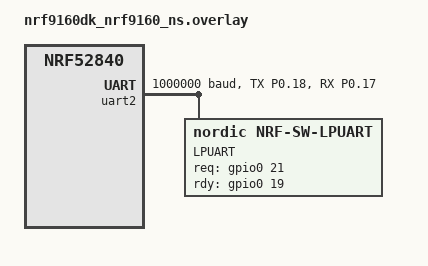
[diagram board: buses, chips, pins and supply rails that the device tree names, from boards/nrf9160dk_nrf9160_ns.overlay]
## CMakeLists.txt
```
#
# Copyright (c) 2018 Nordic Semiconductor
#
# SPDX-License-Identifier: LicenseRef-Nordic-5-Clause
#

cmake_minimum_required(VERSION 3.13.1)

find_package(Zephyr REQUIRED HINTS $ENV{ZEPHYR_BASE})
project(lte-ble-gateway)

# NORDIC SDK APP START
target_sources(app PRIVATE src/main.c)
# NORDIC SDK APP END
zephyr_include_directories(src)

include_directories(src/orientation_detector)
target_sources(app PRIVATE src/aggregator.c)
target_sources(app PRIVATE src/alarm.c)
target_sources(app PRIVATE src/ble.c)
```

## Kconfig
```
#
# Copyright (c) 2018 Nordic Semiconductor ASA
#
# SPDX-License-Identifier: LicenseRef-Nordic-5-Clause
#

menu "LTE BLE gateway sample"

config GNSS_SEARCH_INTERVAL
	int "Interval for starting GNSS search"
	default 240

config GNSS_SEARCH_TIMEOUT
	int "Timeout for GNSS search"
	default 120
	help
	  The GNSS will stop acquiring GNSS fix when it times out.
	  It will restart the search at the start of the next search interval.

endmenu

module=LTE_BLE_GW
module-dep=LOG
module-str= LTE BLE gateway sample
source "${ZEPHYR_BASE}/subsys/logging/Kconfig.template.log_config"

menu "Zephyr Kernel"
source "Kconfig.zephyr"
endmenu
```

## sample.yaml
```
sample:
  name: LTE-BLE gateway sample
tests:
  sample.nrf9160.lte_ble_gateway:
    build_only: true
    integration_platforms:
      - nrf9160dk_nrf9160_ns
    platform_allow: nrf9160dk_nrf9160_ns
    tags: ci_build
```

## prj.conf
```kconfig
#
# Copyright (c) 2019 Nordic Semiconductor ASA
#
# SPDX-License-Identifier: LicenseRef-Nordic-5-Clause
#
# General config
CONFIG_NEWLIB_LIBC=y
CONFIG_NEWLIB_LIBC_FLOAT_PRINTF=y
CONFIG_ASSERT=y
CONFIG_REBOOT=y

# Network
CONFIG_NETWORKING=y
CONFIG_NET_NATIVE=n
CONFIG_NET_SOCKETS=y
CONFIG_NET_SOCKETS_OFFLOAD=y

# LTE link control
CONFIG_LTE_LINK_CONTROL=y
CONFIG_LTE_AUTO_INIT_AND_CONNECT=n
CONFIG_LTE_NETWORK_MODE_LTE_M_GPS=y

# AT host
CONFIG_AT_HOST_LIBRARY=y

# Modem library
CONFIG_NRF_MODEM_LIB=y
# Modem library fault handling
CONFIG_NRF_MODEM_LIB_ON_FAULT_APPLICATION_SPECIFIC=y

# Disable Modem traces, since we need UART1 for HCI
CONFIG_NRF_MODEM_LIB_TRACE=n

# nRF Cloud
CONFIG_NRF_CLOUD_MQTT=y
CONFIG_NRF_CLOUD_AGPS=y

# Modem info
CONFIG_MODEM_INFO=y
CONFIG_MODEM_INFO_ADD_NETWORK=y

# Logging
CONFIG_LOG=y
CONFIG_LTE_BLE_GW_LOG_LEVEL_INF=y

# For demo purposes, we acquire fix often
CONFIG_GNSS_SEARCH_INTERVAL=30
CONFIG_GNSS_SEARCH_TIMEOUT=15

# Library for buttons and LEDs
CONFIG_DK_LIBRARY=y

# Console for user association
CONFIG_CONSOLE_SUBSYS=y
CONFIG_CONSOLE_GETCHAR=y

# Enable Bluetooth stack and libraries
CONFIG_BT=y
CONFIG_BT_H4=y
CONFIG_BT_WAIT_NOP=y
CONFIG_BT_CENTRAL=y
CONFIG_BT_GATT_CLIENT=y
CONFIG_BT_GATT_DM=y
CONFIG_BT_SCAN=y
CONFIG_BT_SCAN_FILTER_ENABLE=y
CONFIG_BT_SCAN_UUID_CNT=1

CONFIG_UART_INTERRUPT_DRIVEN=y

# Heap and stacks
CONFIG_HEAP_MEM_POOL_SIZE=16384
CONFIG_MAIN_STACK_SIZE=8192
CONFIG_SYSTEM_WORKQUEUE_STACK_SIZE=4096
```

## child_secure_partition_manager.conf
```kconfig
#
# Copyright (c) 2019 Nordic Semiconductor ASA
#
# SPDX-License-Identifier: LicenseRef-BSD-5-Clause-Nordic
#
# Set UARTE2 as non-secure, used for HCI
CONFIG_SPM_NRF_UARTE2_NS=y
```

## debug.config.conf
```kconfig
#
# Copyright (c) 2021 Nordic Semiconductor ASA
#
# SPDX-License-Identifier: LicenseRef-Nordic-5-Clause
#

CONFIG_LOG=y

# When enabled, non-secure logs are printed to UARTE0 when secure fault occurs
CONFIG_SPM_NS_DEBUG_LOGS_DUMP=y
CONFIG_SPM_SERVICE_NS_HANDLER_FROM_SPM_FAULT=y
```

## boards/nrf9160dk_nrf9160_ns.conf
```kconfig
CONFIG_NRF_SW_LPUART=y
CONFIG_UART_INTERRUPT_DRIVEN=y

CONFIG_UART_2_ASYNC=y
CONFIG_UART_2_INTERRUPT_DRIVEN=n
CONFIG_UART_2_NRF_HW_ASYNC=y
CONFIG_UART_2_NRF_HW_ASYNC_TIMER=2
```

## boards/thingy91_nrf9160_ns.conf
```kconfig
CONFIG_NRF_SW_LPUART=y
CONFIG_UART_INTERRUPT_DRIVEN=y

CONFIG_UART_1_ASYNC=y
CONFIG_UART_1_INTERRUPT_DRIVEN=n
CONFIG_UART_1_NRF_HW_ASYNC=y
CONFIG_UART_1_NRF_HW_ASYNC_TIMER=2

CONFIG_USE_SEGGER_RTT=y
CONFIG_RTT_CONSOLE=y
CONFIG_UART_CONSOLE=n
CONFIG_LOG_BACKEND_RTT=y

CONFIG_AT_HOST_LIBRARY=n

CONFIG_LTE_LOCK_BANDS=y
# Enable band 2, 3, 4, 8, 12, 13 ,20 and 28
CONFIG_LTE_LOCK_BAND_MASK="1000000010000001100010001110"
```

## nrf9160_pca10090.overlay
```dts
/ {
	chosen {
		zephyr,bt-uart=&uart2;
	};
};

&uart2 {
	current-speed = <1000000>;
	status = "ok";
	tx-pin = <18>;
	rx-pin = <17>;
	rts-pin = <19>;
	cts-pin = <21>;
};
```

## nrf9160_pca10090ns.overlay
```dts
/ {
	chosen {
		zephyr,bt-uart=&uart2;
	};
};

&uart2 {
	current-speed = <1000000>;
	status = "okay";
	tx-pin = <18>;
	rx-pin = <17>;
	rts-pin = <21>;
	cts-pin = <19>;
};
```

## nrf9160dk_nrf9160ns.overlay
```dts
/ {
	chosen {
		zephyr,bt-uart=&uart2;
	};
};

&uart2 {
	compatible = "nordic,nrf-uarte";
	current-speed = <1000000>;
	status = "okay";
	tx-pin = <18>;
	rx-pin = <17>;
	rts-pin = <21>;
	cts-pin = <19>;
};
```

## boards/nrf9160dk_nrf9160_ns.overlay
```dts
#include <nrf9160dk_nrf52840_reset_on_if5.dtsi>

/ {
	chosen {
		zephyr,bt-uart=&lpuart;
	};
};

&gpiote {
	interrupts = <49 NRF_DEFAULT_IRQ_PRIORITY>;
};

&uart2 {
	current-speed = <1000000>;
	status = "okay";
	/delete-property/ hw-flow-control;

	pinctrl-0 = <&uart2_default_alt>;
	pinctrl-1 = <&uart2_sleep_alt>;
	pinctrl-names = "default", "sleep";
	lpuart: nrf-sw-lpuart {
		compatible = "nordic,nrf-sw-lpuart";
		status = "okay";
		label = "LPUART";
		req-gpios = <&gpio0 21 0>; /* <&interface_to_nrf52840 3 0>; */
		rdy-gpios = <&gpio0 19 0>; /* <&interface_to_nrf52840 2 0>; */
	};
};

&pinctrl {
	uart2_default_alt: uart2_default_alt {
		group1 {
			psels = <NRF_PSEL(UART_TX, 0, 18)>,
				<NRF_PSEL(UART_RX, 0, 17)>;
		};
	};

	uart2_sleep_alt: uart2_sleep_alt {
		group1 {
			psels = <NRF_PSEL(UART_TX, 0, 18)>,
				<NRF_PSEL(UART_RX, 0, 17)>;
			low-power-enable;
		};
	};

};
```

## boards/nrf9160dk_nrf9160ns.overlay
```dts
#include <nrf9160dk_nrf52840_reset_on_if5.dtsi>

/ {
	chosen {
		zephyr,bt-uart=&lpuart;
	};
};

&uart2 {
	current-speed = <1000000>;
	status = "okay";
	tx-pin = <18>; /* <&interface_to_nrf52840 1 0>; */
	rx-pin = <17>; /* <&interface_to_nrf52840 0 0>; */
	/delete-property/ rts-pin;
	/delete-property/ cts-pin;
	/delete-property/ hw-flow-control;

	lpuart: nrf-sw-lpuart {
		compatible = "nordic,nrf-sw-lpuart";
		status = "okay";
		label = "LPUART";
		req-pin = <21>; /* <&interface_to_nrf52840 3 0>; */
		rdy-pin = <19>; /* <&interface_to_nrf52840 2 0>; */
	};
};
```

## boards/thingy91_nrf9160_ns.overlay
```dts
/ {
	chosen {
		zephyr,bt-uart=&lpuart;
	};
};

&uart1 {
	current-speed = <1000000>;
	status = "okay";
	/delete-property/ hw-flow-control;

	pinctrl-0 = <&uart1_default_alt>;
	pinctrl-1 = <&uart1_sleep_alt>;
	pinctrl-names = "default", "sleep";
	lpuart: nrf-sw-lpuart {
		compatible = "nordic,nrf-sw-lpuart";
		status = "okay";
		label = "LPUART";
		req-gpios = <&gpio0 24 0>;
		rdy-gpios = <&gpio0 25 0>;
	};
};

&gpiote {
	interrupts = <49 NRF_DEFAULT_IRQ_PRIORITY>;
};

&uart0 {
	status = "disabled";
};

&pinctrl {
	uart1_default_alt: uart1_default_alt {
		group1 {
			psels = <NRF_PSEL(UART_TX, 0, 22)>,
				<NRF_PSEL(UART_RX, 0, 23)>;
		};
	};

	uart1_sleep_alt: uart1_sleep_alt {
		group1 {
			psels = <NRF_PSEL(UART_TX, 0, 22)>,
				<NRF_PSEL(UART_RX, 0, 23)>;
			low-power-enable;
		};
	};
};
```

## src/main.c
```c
/*
 * Copyright (c) 2018 Nordic Semiconductor ASA
 *
 * SPDX-License-Identifier: LicenseRef-Nordic-5-Clause
 */

#include <zephyr/kernel.h>
#include <stdio.h>
#include <string.h>
#include <nrf_modem_at.h>
#include <nrf_modem_gnss.h>
#include <zephyr/drivers/sensor.h>
#include <zephyr/console/console.h>
#include <net/nrf_cloud.h>
#include <net/nrf_cloud_agps.h>
#include <dk_buttons_and_leds.h>
#include <modem/lte_lc.h>
#include <zephyr/sys/reboot.h>
#include <modem/nrf_modem_lib.h>
#include <zephyr/logging/log.h>

#include "aggregator.h"
#include "ble.h"
#include "alarm.h"

LOG_MODULE_REGISTER(lte_ble_gw, CONFIG_LTE_BLE_GW_LOG_LEVEL);

/* Interval in milliseconds between each time status LEDs are updated. */
#define LEDS_UPDATE_INTERVAL K_MSEC(500)

/* Interval in microseconds between each time LEDs are updated when indicating
 * that an error has occurred.
 */
#define LEDS_ERROR_UPDATE_INTERVAL 250000

#define BUTTON_1 BIT(0)
#define BUTTON_2 BIT(1)
#define SWITCH_1 BIT(2)
#define SWITCH_2 BIT(3)

#define LED_ON(x)			(x)
#define LED_BLINK(x)		((x) << 8)
#define LED_GET_ON(x)		((x) & 0xFF)
#define LED_GET_BLINK(x)	(((x) >> 8) & 0xFF)

/* Interval in milliseconds after the device will retry cloud connection
 * if the event NRF_CLOUD_EVT_TRANSPORT_CONNECTED is not received.
 */
#define RETRY_CONNECT_WAIT K_MSEC(90000)

enum {
	LEDS_INITIALIZING       = LED_ON(0),
	LEDS_LTE_CONNECTING     = LED_BLINK(DK_LED3_MSK),
	LEDS_LTE_CONNECTED      = LED_ON(DK_LED3_MSK),
	LEDS_CLOUD_CONNECTING   = LED_BLINK(DK_LED4_MSK),
	LEDS_CLOUD_PAIRING_WAIT = LED_BLINK(DK_LED3_MSK | DK_LED4_MSK),
	LEDS_CLOUD_CONNECTED    = LED_ON(DK_LED4_MSK),
	LEDS_ERROR              = LED_ON(DK_ALL_LEDS_MSK)
} display_state;

/* Variable to keep track of nRF cloud user association request. */
static atomic_val_t association_requested;

/* Sensor data */
static struct nrf_modem_gnss_nmea_data_frame gnss_nmea_data;
static uint32_t gnss_cloud_data_tag = 0x1;
static atomic_val_t send_data_enable;

/* Structures for work */
static struct k_work_delayable leds_update_work;
static struct k_work_delayable connect_work;
struct k_work_delayable aggregated_work;
static struct k_work agps_request_work;

static struct nrf_modem_gnss_pvt_data_frame last_pvt;
static bool nrf_modem_gnss_fix;

static bool cloud_connected;

enum error_type {
	ERROR_NRF_CLOUD,
	ERROR_MODEM_RECOVERABLE,
};

/* Forward declaration of functions. */
static void cloud_connect(struct k_work *work);
static void sensors_init(void);
static void work_init(void);

void sensor_data_send(struct nrf_cloud_sensor_data *data);

/**@brief nRF Cloud error handler. */
void error_handler(enum error_type err_type, int err)
{
	if (err_type == ERROR_NRF_CLOUD) {
		int err;

		/* Turn off and shutdown modem */
		k_sched_lock();
		err = lte_lc_power_off();
		__ASSERT(err == 0, "lte_lc_power_off failed: %d", err);
		nrf_modem_lib_shutdown();
	}

#if !defined(CONFIG_DEBUG)
	sys_reboot(SYS_REBOOT_COLD);
#else
	uint8_t led_pattern;

	switch (err_type) {
	case ERROR_NRF_CLOUD:
		/* Blinking all LEDs ON/OFF in pairs (1 and 4, 2 and 3)
		 * if there is an application error.
		 */
		led_pattern = DK_LED1_MSK | DK_LED4_MSK;
		LOG_ERR("Error of type ERROR_NRF_CLOUD: %d", err);
		break;
	case ERROR_MODEM_RECOVERABLE:
		/* Blinking all LEDs ON/OFF in pairs (1 and 3, 2 and 4)
		 * if there is a recoverable error.
		 */
		led_pattern = DK_LED1_MSK | DK_LED3_MSK;
		LOG_ERR("Error of type ERROR_MODEM_RECOVERABLE: %d", err);
		break;
	default:
		/* Blinking all LEDs ON/OFF in pairs (1 and 2, 3 and 4)
		 * undefined error.
		 */
		led_pattern = DK_LED1_MSK | DK_LED2_MSK;
		break;
	}

	while (true) {
		dk_set_leds(led_pattern & 0x0f);
		k_busy_wait(LEDS_ERROR_UPDATE_INTERVAL);
		dk_set_leds(~led_pattern & 0x0f);
		k_busy_wait(LEDS_ERROR_UPDATE_INTERVAL);
	}
#endif /* CONFIG_DEBUG */
}

void nrf_cloud_error_handler(int err)
{
	switch (err) {
	case NRF_CLOUD_ERR_STATUS_MQTT_CONN_FAIL:
	case NRF_CLOUD_ERR_STATUS_MQTT_CONN_BAD_PROT_VER:
	case NRF_CLOUD_ERR_STATUS_MQTT_CONN_ID_REJECTED:
	case NRF_CLOUD_ERR_STATUS_MQTT_CONN_SERVER_UNAVAIL:
	case NRF_CLOUD_ERR_STATUS_MQTT_CONN_BAD_USR_PWD:
	case NRF_CLOUD_ERR_STATUS_MQTT_CONN_NOT_AUTH:
	case NRF_CLOUD_ERR_STATUS_MQTT_SUB_FAIL:
		error_handler(ERROR_NRF_CLOUD, err);
	default:
		return;
	}
}

/**@brief Modem fault handler. */
void nrf_modem_fault_handler(struct nrf_modem_fault_info *fault_info)
{
	error_handler(ERROR_MODEM_RECOVERABLE, (int)fault_info->reason);
}

/**@brief Request assisted GPS data from nRF Cloud. */
static void agps_request(struct k_work *work)
{
	int retval;
	struct nrf_modem_gnss_agps_data_frame agps_data;

	if (!nrf_cloud_agps_request_in_progress()) {
		retval = nrf_modem_gnss_read(&agps_data, sizeof(agps_data),
					     NRF_MODEM_GNSS_DATA_AGPS_REQ);
		if (retval) {
			LOG_ERR("Failed to read AGPS data, err %d", retval);
			return;
		}

		retval = nrf_cloud_agps_request(&agps_data);
		if (retval) {
			LOG_ERR("Failed to request AGPS data, err %d", retval);
			return;
		}
	}
}

/**@brief Callback for GNSS events */
static void gnss_event_handler(int event)
{
	int retval;

	uint32_t button_state, has_changed;
	struct sensor_data in_data = {
		.type = GNSS_POSITION,
	};

	switch (event) {
	case NRF_MODEM_GNSS_EVT_PVT:
		retval = nrf_modem_gnss_read(&last_pvt, sizeof(last_pvt), NRF_MODEM_GNSS_DATA_PVT);
		if (retval) {
			LOG_ERR("nrf_modem_gnss_read failed, err %d", retval);
			return;
		}
		if (last_pvt.flags & NRF_MODEM_GNSS_PVT_FLAG_FIX_VALID) {
			nrf_modem_gnss_fix = true;
		} else {
			nrf_modem_gnss_fix = false;
		}
		return;
	case NRF_MODEM_GNSS_EVT_FIX:
		LOG_DBG("NRF_MODEM_GNSS_EVT_FIX");
		return;
	case NRF_MODEM_GNSS_EVT_NMEA:
		if (nrf_modem_gnss_fix == true) {
			retval = nrf_modem_gnss_read(&gnss_nmea_data,
						     sizeof(struct nrf_modem_gnss_nmea_data_frame),
						     NRF_MODEM_GNSS_DATA_NMEA);
			if (retval) {
				LOG_ERR("nrf_modem_gnss_read failed, err: %d", retval);
				return;
			}
			LOG_INF("GNSS NMEA data ready");
			break;
		}
		return;

	case NRF_MODEM_GNSS_EVT_AGPS_REQ:
		LOG_INF("Requesting AGPS Data");
		k_work_submit(&agps_request_work);
		return;
	case NRF_MODEM_GNSS_EVT_BLOCKED:
		LOG_DBG("NRF_MODEM_GNSS_EVT_BLOCKED");
		return;
	case NRF_MODEM_GNSS_EVT_UNBLOCKED:
		LOG_DBG("NRF_MODEM_GNSS_EVT_UNBLOCKED");
		return;
	case NRF_MODEM_GNSS_EVT_PERIODIC_WAKEUP:
		LOG_DBG("NRF_MODEM_GNSS_EVT_PERIODIC_WAKEUP");
		return;
	case NRF_MODEM_GNSS_EVT_SLEEP_AFTER_TIMEOUT:
		LOG_DBG("NRF_MODEM_GNSS_EVT_SLEEP_AFTER_TIMEOUT");
		return;
	case NRF_MODEM_GNSS_EVT_SLEEP_AFTER_FIX:
		LOG_DBG("NRF_MODEM_GNSS_EVT_SLEEP_AFTER_FIX");
		return;
	default:
		LOG_WRN("Unknown GNSS event %d", event);
		return;
	}

	dk_read_buttons(&button_state, &has_changed);

	if ((button_state & SWITCH_2) || !atomic_get(&send_data_enable)) {
		return;
	}

	gnss_cloud_data_tag++;

	memcpy(in_data.data, &gnss_cloud_data_tag, sizeof(gnss_cloud_data_tag));

	in_data.length = sizeof(gnss_cloud_data_tag) + sizeof(gnss_nmea_data.nmea_str);

	memcpy(&in_data.data[sizeof(gnss_cloud_data_tag)], gnss_nmea_data.nmea_str,
	       sizeof(gnss_nmea_data.nmea_str));

	retval = aggregator_put(in_data);
	if (retval) {
		LOG_ERR("Failed to store GNSS data.");
	}
}

/**@brief Update LEDs state. */
static void leds_update(struct k_work *work)
{
	static bool led_on;
	static uint8_t current_led_on_mask;
	uint8_t led_on_mask = current_led_on_mask;

	ARG_UNUSED(work);

	/* Reset LED3 and LED4. */
	led_on_mask &= ~(DK_LED3_MSK | DK_LED4_MSK);

	/* Set LED3 and LED4 to match current state. */
	led_on_mask |= LED_GET_ON(display_state);

	led_on = !led_on;
	if (led_on) {
		led_on_mask |= LED_GET_BLINK(display_state);
	} else {
		led_on_mask &= ~LED_GET_BLINK(display_state);
	}

	if (led_on_mask != current_led_on_mask) {
		dk_set_leds(led_on_mask);
		current_led_on_mask = led_on_mask;
	}

	k_work_schedule(&leds_update_work, LEDS_UPDATE_INTERVAL);
}

/**@brief Send sensor data to nRF Cloud. **/
void sensor_data_send(struct nrf_cloud_sensor_data *data)
{
	int err;

	if (!atomic_get(&send_data_enable)) {
		return;
	}

	if (data->type == NRF_CLOUD_SENSOR_FLIP) {
		err = nrf_cloud_sensor_data_stream(data);
	} else {
		err = nrf_cloud_sensor_data_send(data);
	}

	if (err) {
		LOG_ERR("Failed to send data to cloud: %d", err);
		nrf_cloud_error_handler(err);
	}
}

static void on_cloud_evt_user_association_request(void)
{
	if (!atomic_get(&association_requested)) {
		atomic_set(&association_requested, 1);
		LOG_INF("Add device to cloud account");
		LOG_INF("Waiting for cloud association...");
	}
}

static void on_cloud_evt_user_associated(void)
{
	int err;

	if (atomic_get(&association_requested)) {
		atomic_set(&association_requested, 0);

		/* after successful association, the device must
		 * reconnect to aws.
		 */
		LOG_INF("Device associated with cloud");
		LOG_INF("Reconnecting for settings to take effect");
		LOG_INF("Disconnecting from cloud...");

		err = nrf_cloud_disconnect();

		if (err == 0) {
			return;
		} else {
			LOG_ERR("Disconnect failed, rebooting...");
			nrf_cloud_error_handler(err);
		}
	}
}

/**@brief Callback for nRF Cloud events. */
static void cloud_event_handler(const struct nrf_cloud_evt *evt)
{
	switch (evt->type) {
	case NRF_CLOUD_EVT_TRANSPORT_CONNECTED:
		LOG_DBG("NRF_CLOUD_EVT_TRANSPORT_CONNECTED");
		cloud_connected = true;
		/* This may fail if the work item is already being processed,
		 * but in such case, the next time the work handler is executed,
		 * it will exit after checking the above flag and the work will
		 * not be scheduled again.
		 */
		(void)k_work_cancel_delayable(&connect_work);
		break;
	case NRF_CLOUD_EVT_TRANSPORT_CONNECTING:
		LOG_DBG("NRF_CLOUD_EVT_TRANSPORT_CONNECTING");
		break;
	case NRF_CLOUD_EVT_TRANSPORT_CONNECT_ERROR:
		LOG_DBG("NRF_CLOUD_EVT_TRANSPORT_CONNECT_ERROR, status: %d", evt->status);
		break;
	case NRF_CLOUD_EVT_USER_ASSOCIATION_REQUEST:
		LOG_DBG("NRF_CLOUD_EVT_USER_ASSOCIATION_REQUEST");
		display_state = LEDS_CLOUD_PAIRING_WAIT;
		on_cloud_evt_user_association_request();
		break;
	case NRF_CLOUD_EVT_USER_ASSOCIATED:
		LOG_DBG("NRF_CLOUD_EVT_USER_ASSOCIATED");
		on_cloud_evt_user_associated();
		break;
	case NRF_CLOUD_EVT_READY:
		LOG_DBG("NRF_CLOUD_EVT_READY");
		display_state = LEDS_CLOUD_CONNECTED;
		sensors_init();
		atomic_set(&send_data_enable, 1);
		k_work_schedule(&aggregated_work, K_MSEC(100));
		break;
	case NRF_CLOUD_EVT_RX_DATA_GENERAL:
		LOG_DBG("NRF_CLOUD_EVT_RX_DATA_GENERAL");
		break;
	case NRF_CLOUD_EVT_RX_DATA_SHADOW:
		LOG_DBG("NRF_CLOUD_EVT_RX_DATA_SHADOW");
		break;
	case NRF_CLOUD_EVT_RX_DATA_LOCATION:
		LOG_DBG("NRF_CLOUD_EVT_RX_DATA_LOCATION");
		break;
	case NRF_CLOUD_EVT_SENSOR_DATA_ACK:
		LOG_DBG("NRF_CLOUD_EVT_SENSOR_DATA_ACK");
		break;
	case NRF_CLOUD_EVT_TRANSPORT_DISCONNECTED:
		LOG_DBG("NRF_CLOUD_EVT_TRANSPORT_DISCONNECTED");
		atomic_set(&send_data_enable, 0);
		k_work_cancel_delayable(&aggregated_work);
		display_state = LEDS_INITIALIZING;

		cloud_connected = false;
		/* Reconnect to nRF Cloud. */
		k_work_schedule(&connect_work, K_NO_WAIT);
		break;
	case NRF_CLOUD_EVT_ERROR:
		LOG_DBG("NRF_CLOUD_EVT_ERROR, status: %d", evt->status);
		atomic_set(&send_data_enable, 0);
		display_state = LEDS_ERROR;
		nrf_cloud_error_handler(evt->status);
		break;
	default:
		LOG_WRN("Received unknown event %d", evt->type);
		break;
	}
}

/**@brief Initialize nRF CLoud library. */
static void cloud_init(void)
{
	const struct nrf_cloud_init_param param = {
		.event_handler = cloud_event_handler
	};

	int err = nrf_cloud_init(&param);

	__ASSERT(err == 0, "nRF Cloud library could not be initialized.");
}

/**@brief Connect to nRF Cloud, */
static void cloud_connect(struct k_work *work)
{
	int err;

	ARG_UNUSED(work);

	if (cloud_connected) {
		return;
	}

	err = nrf_cloud_connect();
	if (err) {
		LOG_ERR("nrf_cloud_connect failed: %d", err);
		nrf_cloud_error_handler(err);
	}

	display_state = LEDS_CLOUD_CONNECTING;
	k_work_schedule(&connect_work, RETRY_CONNECT_WAIT);
}

/**@brief Callback for button events from the DK buttons and LEDs library. */
static void button_handler(uint32_t buttons, uint32_t has_changed)
{
	LOG_INF("button_handler: button 1: %u, button 2: %u "
		"switch 1: %u, switch 2: %u",
		(bool)(buttons & BUTTON_1), (bool)(buttons & BUTTON_2), (bool)(buttons & SWITCH_1),
		(bool)(buttons & SWITCH_2));
}

/**@brief Initializes and submits delayed work. */
static void work_init(void)
{
	k_work_init(&agps_request_work, agps_request);
	k_work_init_delayable(&leds_update_work, leds_update);
	k_work_init_delayable(&connect_work, cloud_connect);
	k_work_init_delayable(&aggregated_work, send_aggregated_data);
	k_work_schedule(&leds_update_work, LEDS_UPDATE_INTERVAL);
}

/**@brief Configures modem to provide LTE link. Blocks until link is
 * successfully established.
 */
static void modem_configure(void)
{
	int err;

	err = nrf_modem_lib_init();
	__ASSERT(err == 0, "Modem library could not be initialized, err %d.", err);

	display_state = LEDS_LTE_CONNECTING;

	LOG_INF("Establishing LTE link (this may take some time) ...");
	err = lte_lc_init_and_connect();
	__ASSERT(err == 0, "LTE link could not be established.");
	display_state = LEDS_LTE_CONNECTED;
}

/**@brief Initializes the sensors that are used by the application. */
static void sensors_init(void)
{
	int err;

	LOG_INF("Initializing GNSS");

	nrf_modem_gnss_fix = false;

	/* Configure GNSS. */
	err = nrf_modem_gnss_event_handler_set(gnss_event_handler);
	if (err) {
		LOG_ERR("Failed to set GNSS event handler");
		return;
	}

	/* Enable position NMEA GGA messages only. */
	uint16_t nmea_mask = NRF_MODEM_GNSS_NMEA_GGA_MASK;

	err = nrf_modem_gnss_nmea_mask_set(nmea_mask);
	if (err) {
		LOG_ERR("Failed to set GNSS NMEA mask");
		return;
	}

	/* This use case flag should always be set. */
	uint8_t use_case = NRF_MODEM_GNSS_USE_CASE_MULTIPLE_HOT_START;

	err = nrf_modem_gnss_use_case_set(use_case);
	if (err) {
		LOG_WRN("Failed to set GNSS use case");
	}

	err = nrf_modem_gnss_fix_retry_set(CONFIG_GNSS_SEARCH_TIMEOUT);
	if (err) {
		LOG_ERR("Failed to set GNSS fix retry");
		return;
	}

	err = nrf_modem_gnss_fix_interval_set(CONFIG_GNSS_SEARCH_INTERVAL);
	if (err) {
		LOG_ERR("Failed to set GNSS fix interval");
		return;
	}

	LOG_INF("GNSS initialized");

	err = nrf_modem_gnss_start();
	if (err) {
		LOG_ERR("Failed to start GNSS, err: %d", err);
		return;
	}

	LOG_INF("GNSS started with interval %d seconds, and timeout %d seconds",
		CONFIG_GNSS_SEARCH_INTERVAL, CONFIG_GNSS_SEARCH_TIMEOUT);
}

/**@brief Initializes buttons and LEDs, using the DK buttons and LEDs
 * library.
 */
static void buttons_leds_init(void)
{
	int err;

	err = dk_buttons_init(button_handler);
	if (err) {
		LOG_ERR("Could not initialize buttons, err code: %d", err);
	}

	err = dk_leds_init();
	if (err) {
		LOG_ERR("Could not initialize leds, err code: %d", err);
	}

	err = dk_set_leds_state(0x00, DK_ALL_LEDS_MSK);
	if (err) {
		LOG_ERR("Could not set leds state, err code: %d", err);
	}
}

int main(void)
{
	LOG_INF("LTE Sensor Gateway sample started");

	buttons_leds_init();
	ble_init();

	work_init();
	modem_configure();
	cloud_init();
	cloud_connect(NULL);

	return 0;
}
```

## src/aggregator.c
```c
/*
 * Copyright (c) 2018 Nordic Semiconductor ASA
 *
 * SPDX-License-Identifier: LicenseRef-Nordic-5-Clause
 */
#include "aggregator.h"
#include <zephyr/kernel.h>
#include <zephyr/zephyr.h>
#include <stdio.h>
#include <zephyr/types.h>
#include <string.h>
#include <zephyr/irq.h>

K_FIFO_DEFINE(aggregator_fifo);

static uint32_t entry_count;

struct fifo_entry {
	void *fifo_reserved;
	uint8_t data[sizeof(struct sensor_data)];
};

int aggregator_put(struct sensor_data in_data)
{
	struct fifo_entry *fifo_data = NULL;
	uint32_t  lock = irq_lock();
	int    err  = 0;

	if (entry_count == FIFO_MAX_ELEMENT_COUNT) {
		fifo_data = k_fifo_get(&aggregator_fifo, K_NO_WAIT);

		__ASSERT(fifo_data != NULL, "fifo_data should not be NULL");

		entry_count--;
	}

	if (fifo_data == NULL) {
		fifo_data = k_malloc(sizeof(struct fifo_entry));
	}

	if (fifo_data == NULL) {
		err = -ENOMEM;
		goto exit;
	}

	memcpy(fifo_data->data, &in_data, sizeof(struct sensor_data));

	k_fifo_put(&aggregator_fifo, fifo_data);
	entry_count++;

exit:
	irq_unlock(lock);
	return err;
}

int aggregator_get(struct sensor_data *out_data)
{
	void  *fifo_data;
	int   err = 0;

	if (out_data == NULL) {
		return -EINVAL;
	}

	uint32_t lock = irq_lock();

	fifo_data = k_fifo_get(&aggregator_fifo, K_NO_WAIT);
	if (fifo_data == NULL) {
		err = -ENODATA;
		goto exit;
	}

	memcpy(out_data, ((struct fifo_entry *)fifo_data)->data,
	       sizeof(struct sensor_data));

	k_free(fifo_data);
	entry_count--;

exit:
	irq_unlock(lock);
	return err;
}

void aggregator_clear(void)
{
	void *fifo_data;
	uint32_t lock = irq_lock();

	while (1) {
		fifo_data = k_fifo_get(&aggregator_fifo, K_NO_WAIT);

		if (fifo_data == NULL) {
			break;
		}

		k_free(fifo_data);
	};

	entry_count = 0;
	irq_unlock(lock);
}

int aggregator_element_count_get(void)
{
	return entry_count;
}
```

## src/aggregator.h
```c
/*
 * Copyright (c) 2018 Nordic Semiconductor ASA
 *
 * SPDX-License-Identifier: LicenseRef-Nordic-5-Clause
 */

#ifndef _AGGREGATOR_H_
#define _AGGREGATOR_H_

/*
 * Simple aggregator module which can have sensordata added and retrieved in a
 * FIFO fashion. The queue allows TLD formated data to be aggregated from
 * sensors in a FIFO fashion. When some event in the future causes data
 * transfer to start, the most recent X datapoints (determined by ENTRY_MAX_SIZE
 * and HEAP_MEM_POOL_SIZE) can be transferred.
 *
 * Note: The module is single instance to allow simple global access to the
 * data.
 */
#include <zephyr/types.h>
#include <drivers/gps.h>

/* In this sample the GPS data is 83 byte + a data sequence tag,
 * so 87 byte is used.
 */
#define ENTRY_MAX_SIZE (GPS_NMEA_SENTENCE_MAX_LENGTH + 4)
#define FIFO_MAX_ELEMENT_COUNT 12

enum sensor_data_type { THINGY_ORIENTATION, GPS_POSITION };

struct sensor_data {
	uint8_t length;
	enum sensor_data_type type;
	uint8_t data[ENTRY_MAX_SIZE];
};

int aggregator_init(void);

int aggregator_put(struct sensor_data data);

int aggregator_get(struct sensor_data *data);

void aggregator_clear(void);

int aggregator_element_count_get(void);

#endif /* _AGGREGATOR_H_ */
```

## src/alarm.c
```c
/*
 * Copyright (c) 2018 Nordic Semiconductor ASA
 *
 * SPDX-License-Identifier: LicenseRef-Nordic-5-Clause
 */
#include <string.h>
#include <stdbool.h>
#include <net/nrf_cloud.h>
#include <zephyr/logging/log.h>

#include "alarm.h"

#include "aggregator.h"

LOG_MODULE_DECLARE(lte_ble_gw);

static bool alarm_pending;

extern void sensor_data_send(struct nrf_cloud_sensor_data *data);

extern struct k_work_delayable aggregated_work;

char *orientation_strings[] = {"LEFT", "NORMAL", "RIGHT", "UPSIDE_DOWN"};

void alarm(void)
{
	alarm_pending = true;
}

void send_aggregated_data(struct k_work *work)
{
	ARG_UNUSED(work);

	static uint8_t gps_data_buffer[NRF_MODEM_GNSS_NMEA_MAX_LEN];

	static struct nrf_cloud_sensor_data gnss_cloud_data = {
		.type = NRF_CLOUD_SENSOR_GNSS,
		.data.ptr = gps_data_buffer,
	};

	static struct nrf_cloud_sensor_data flip_cloud_data = {
		.type = NRF_CLOUD_SENSOR_FLIP,
	};

	struct sensor_data aggregator_data;

	k_work_schedule(&aggregated_work, K_MSEC(100));

	if (!alarm_pending) {
		return;
	}

	alarm_pending = false;

	LOG_INF("Alarm triggered!");
	while (1) {
		if (aggregator_get(&aggregator_data) == -ENODATA) {
			break;
		}
		switch (aggregator_data.type) {
		case THINGY_ORIENTATION:
			LOG_INF("[%d] Sending FLIP data", aggregator_element_count_get());
			if (aggregator_data.length != 1 ||
				aggregator_data.data[0] >=
				ARRAY_SIZE(orientation_strings)) {
				LOG_ERR("Unexpected FLIP data format, dropping");
				continue;
			}
			flip_cloud_data.data.ptr =
				orientation_strings[aggregator_data.data[0]];
			flip_cloud_data.data.len = strlen(
				orientation_strings[aggregator_data.data[0]]) - 1;
			sensor_data_send(&flip_cloud_data);
			break;

		case GNSS_POSITION:
			LOG_INF("[%d] Sending GNSS data", aggregator_element_count_get());
			gnss_cloud_data.data.ptr = &aggregator_data.data[4];
			gnss_cloud_data.data.len = aggregator_data.length;
			gnss_cloud_data.tag =
			    *((uint32_t *)&aggregator_data.data[0]);
			sensor_data_send(&gnss_cloud_data);
			break;

		default:
			LOG_ERR("Unsupported data type from aggregator: %d", aggregator_data.type);
			continue;
		}
	}
}
```

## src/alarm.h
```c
/*
 * Copyright (c) 2018 Nordic Semiconductor ASA
 *
 * SPDX-License-Identifier: LicenseRef-Nordic-5-Clause
 */

#ifndef _ALARM_H_
#define _ALARM_H_

void alarm(void);
void send_aggregated_data(void);

#endif /* _ALARM_H_ */
```

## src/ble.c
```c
/*
 * Copyright (c) 2018 Nordic Semiconductor ASA
 *
 * SPDX-License-Identifier: LicenseRef-Nordic-5-Clause
 */

#include <zephyr/kernel.h>

#include <zephyr/bluetooth/bluetooth.h>
#include <zephyr/bluetooth/gatt.h>
#include <zephyr/bluetooth/uuid.h>
#include <bluetooth/gatt_dm.h>
#include <bluetooth/scan.h>

#include <dk_buttons_and_leds.h>
#include <zephyr/sys/byteorder.h>

#include <net/nrf_cloud.h>
#include <zephyr/logging/log.h>
#include "aggregator.h"

LOG_MODULE_DECLARE(lte_ble_gw);

/* Thinghy advertisement UUID */
#define BT_UUID_THINGY_VAL \
	BT_UUID_128_ENCODE(0xef680100, 0x9b35, 0x4933, 0x9b10, 0x52ffa9740042)

#define BT_UUID_THINGY \
	BT_UUID_DECLARE_128(BT_UUID_THINGY_VAL)
/* Thingy service UUID */
#define BT_UUID_TMS_VAL \
	BT_UUID_128_ENCODE(0xef680400, 0x9b35, 0x4933, 0x9b10, 0x52ffa9740042)

#define BT_UUID_TMS \
	BT_UUID_DECLARE_128(BT_UUID_TMS_VAL)
		/* Thingy characteristic UUID */
#define BT_UUID_TOC_VAL \
	BT_UUID_128_ENCODE(0xef680403, 0x9b35, 0x4933, 0x9b10, 0x52ffa9740042)

#define BT_UUID_TOC \
	BT_UUID_DECLARE_128(BT_UUID_TOC_VAL)
extern void alarm(void);

static uint8_t on_received(struct bt_conn *conn,
			struct bt_gatt_subscribe_params *params,
			const void *data, uint16_t length)
{
	if (length > 0) {
		LOG_INF("Orientation: %x", ((uint8_t *)data)[0]);
		struct sensor_data in_data;

		in_data.type = THINGY_ORIENTATION;
		in_data.length = 1;
		in_data.data[0] = ((uint8_t *)data)[0];

		if (aggregator_put(in_data) != 0) {
			LOG_ERR("Was not able to insert Thingy orientation data into aggregator");
		}
		/* If the thingy is upside down, trigger an alarm. */
		if (((uint8_t *)data)[0] == 3) {
			alarm();
		}

	} else {
		LOG_DBG("Orientation notification with 0 length");
	}
	return BT_GATT_ITER_CONTINUE;
}

static void discovery_completed(struct bt_gatt_dm *disc, void *ctx)
{
	int err;

	/* Must be statically allocated */
	static struct bt_gatt_subscribe_params param = {
		.notify = on_received,
		.value = BT_GATT_CCC_NOTIFY,
	};

	const struct bt_gatt_dm_attr *chrc;
	const struct bt_gatt_dm_attr *desc;

	chrc = bt_gatt_dm_char_by_uuid(disc, BT_UUID_TOC);
	if (!chrc) {
		LOG_ERR("Missing Thingy orientation characteristic");
		goto release;
	}

	desc = bt_gatt_dm_desc_by_uuid(disc, chrc, BT_UUID_TOC);
	if (!desc) {
		LOG_ERR("Missing Thingy orientation char value descriptor");
		goto release;
	}

	param.value_handle = desc->handle,

	desc = bt_gatt_dm_desc_by_uuid(disc, chrc, BT_UUID_GATT_CCC);
	if (!desc) {
		LOG_ERR("Missing Thingy orientation char CCC descriptor");
		goto release;
	}

	param.ccc_handle = desc->handle;

	err = bt_gatt_subscribe(bt_gatt_dm_conn_get(disc), &param);
	if (err) {
		LOG_ERR("Subscribe failed (err %d)", err);
	}

release:
	err = bt_gatt_dm_data_release(disc);
	if (err) {
		LOG_ERR("Could not release discovery data, err: %d", err);
	}
}

static void discovery_service_not_found(struct bt_conn *conn, void *ctx)
{
	LOG_ERR("Thingy orientation service not found!");
}

static void discovery_error_found(struct bt_conn *conn, int err, void *ctx)
{
	LOG_ERR("The discovery procedure failed, err %d", err);
}

static struct bt_gatt_dm_cb discovery_cb = {
	.completed = discovery_completed,
	.service_not_found = discovery_service_not_found,
	.error_found = discovery_error_found,
};

static void connected(struct bt_conn *conn, uint8_t conn_err)
{
	int err;
	char addr[BT_ADDR_LE_STR_LEN];

	bt_addr_le_to_str(bt_conn_get_dst(conn), addr, sizeof(addr));

	if (conn_err) {
		LOG_ERR("Failed to connect to %s (%u)", addr, conn_err);
		return;
	}

	LOG_INF("Connected: %s", addr);

	err = bt_gatt_dm_start(conn, BT_UUID_TMS, &discovery_cb, NULL);
	if (err) {
		LOG_ERR("Could not start service discovery, err %d", err);
	}
}

static struct bt_conn_cb conn_callbacks = {
	.connected = connected,
};

void scan_filter_match(struct bt_scan_device_info *device_info,
		       struct bt_scan_filter_match *filter_match,
		       bool connectable)
{
	char addr[BT_ADDR_LE_STR_LEN];

	bt_addr_le_to_str(device_info->recv_info->addr, addr, sizeof(addr));

	LOG_INF("Device found: %s", addr);
}

void scan_connecting_error(struct bt_scan_device_info *device_info)
{
	LOG_ERR("Connection to peer failed!");
}

BT_SCAN_CB_INIT(scan_cb, scan_filter_match, NULL, scan_connecting_error, NULL);

static void scan_start(void)
{
	int err;

	struct bt_le_scan_param scan_param = {
		.type = BT_LE_SCAN_TYPE_ACTIVE,
		.options = BT_LE_SCAN_OPT_FILTER_DUPLICATE,
		.interval = 0x0010,
		.window = 0x0010,
	};

	struct bt_scan_init_param scan_init = {
		.connect_if_match = 1,
		.scan_param = &scan_param,
		.conn_param = BT_LE_CONN_PARAM_DEFAULT,
	};

	bt_scan_init(&scan_init);
	bt_scan_cb_register(&scan_cb);

	err = bt_scan_filter_add(BT_SCAN_FILTER_TYPE_UUID, BT_UUID_THINGY);
	if (err) {
		LOG_ERR("Scanning filters cannot be set");
		return;
	}

	err = bt_scan_filter_enable(BT_SCAN_UUID_FILTER, false);
	if (err) {
		LOG_ERR("Filters cannot be turned on");
	}

	err = bt_scan_start(BT_SCAN_TYPE_SCAN_ACTIVE);
	if (err) {
		LOG_ERR("Scanning failed to start, err %d", err);
	}

	LOG_INF("Scanning...");
}

static void ble_ready(int err)
{
	LOG_INF("Bluetooth ready");

	bt_conn_cb_register(&conn_callbacks);
	scan_start();
}

void ble_init(void)
{
	int err;

	LOG_INF("Initializing Bluetooth..");
	err = bt_enable(ble_ready);
	if (err) {
		LOG_ERR("Bluetooth init failed (err %d)", err);
		return;
	}
}
```

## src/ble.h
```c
/*
 * Copyright (c) 2018 Nordic Semiconductor ASA
 *
 * SPDX-License-Identifier: LicenseRef-BSD-5-Clause-Nordic
 */

#ifndef _BLE_H_
#define _BLE_H_

void ble_init(void);

#endif /* _BLE_H_ */
```

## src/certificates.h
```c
/*
 * Copyright (c) 2018 Nordic Semiconductor ASA
 *
 * SPDX-License-Identifier: BSD-5-Clause-Nordic
 */

#ifndef _CERTIFICATES_H_
#define _CERTIFICATES_H_

#define NRF_CLOUD_CLIENT_ID "my-client-id"

#define NRF_CLOUD_CLIENT_PRIVATE_KEY \
	"-----BEGIN RSA PRIVATE KEY-----\n" \
	"NRF_CLOUD_CLIENT_PRIVATE_KEY\n" \
	"-----END RSA PRIVATE KEY-----\n"

#define NRF_CLOUD_CLIENT_PUBLIC_CERTIFICATE \
	"-----BEGIN CERTIFICATE-----\n" \
	"NRF_CLOUD_CLIENT_PUBLIC_CERTIFICATE\n" \
	"-----END CERTIFICATE-----\n"

#define NRF_CLOUD_CA_CERTIFICATE \
	"-----BEGIN CERTIFICATE-----\n" \
	"NRF_CLOUD_CA_CERTIFICATE\n" \
	"-----END CERTIFICATE-----\n"

#endif /* _CERTIFICATES_H_ */
```
